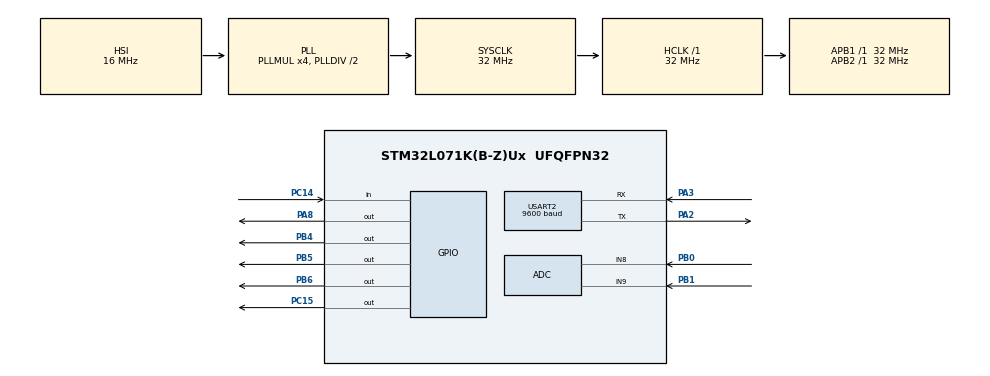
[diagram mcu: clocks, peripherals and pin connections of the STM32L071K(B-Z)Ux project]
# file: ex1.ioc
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ADC.DiscontinuousConvMode=ENABLE
Dma.MEMTOMEM.0.Direction=DMA_MEMORY_TO_MEMORY
Dma.MEMTOMEM.0.Instance=DMA1_Channel1
Dma.MEMTOMEM.0.MemDataAlignment=DMA_MDATAALIGN_BYTE
Dma.MEMTOMEM.0.MemInc=DMA_MINC_ENABLE
Dma.MEMTOMEM.0.Mode=DMA_NORMAL
Dma.MEMTOMEM.0.PeriphDataAlignment=DMA_PDATAALIGN_BYTE
Dma.MEMTOMEM.0.PeriphInc=DMA_PINC_ENABLE
Dma.MEMTOMEM.0.Priority=DMA_PRIORITY_LOW
Dma.Request0=MEMTOMEM
Dma.Request1=USART2_RX
Dma.USART2_RX.1.Direction=DMA_PERIPH_TO_MEMORY
Dma.USART2_RX.1.Instance=DMA1_Channel5
Dma.USART2_RX.1.MemDataAlignment=DMA_MDATAALIGN_BYTE
Dma.USART2_RX.1.MemInc=DMA_MINC_ENABLE
Dma.USART2_RX.1.Mode=DMA_CIRCULAR
Dma.USART2_RX.1.PeriphDataAlignment=DMA_PDATAALIGN_BYTE
Dma.USART2_RX.1.PeriphInc=DMA_PINC_DISABLE
Dma.USART2_RX.1.Priority=DMA_PRIORITY_LOW
Mcu.Family=STM32L0
Mcu.Name=STM32L071K(B-Z)Ux
Mcu.Package=UFQFPN32
NVIC.ADC1_COMP_IRQn=true\:0\:0\:false\:false\:true\:true\:true
NVIC.DMA1_Channel1_IRQn=true\:0\:0\:false\:false\:true\:true\:true
NVIC.DMA1_Channel4_5_6_7_IRQn=true\:0\:0\:false\:false\:true\:false\:true
NVIC.TIM6_IRQn=true\:0\:0\:false\:false\:true\:true\:true
NVIC.TIM7_IRQn=true\:0\:0\:false\:false\:true\:true\:true
NVIC.USART2_IRQn=true\:0\:0\:false\:false\:true\:true\:true
PA13.Mode=Serial_Wire
PA13.Signal=SYS_SWDIO
PA14.Mode=Serial_Wire
PA14.Signal=SYS_SWCLK
PA2.Mode=Asynchronous
PA2.Signal=USART2_TX
PA3.Mode=Asynchronous
PA3.Signal=USART2_RX
PA8.Signal=GPIO_Output
PB0.Mode=IN8
PB0.Signal=ADC_IN8
PB1.Mode=IN9
PB1.Signal=ADC_IN9
PB4.Signal=GPIO_Output
PB5.Signal=GPIO_Output
PB6.Signal=GPIO_Output
PC14-OSC32_IN.Signal=GPIO_Input
PC15-OSC32_OUT.Signal=GPIO_Output
ProjectManager.HeapSize=0x200
ProjectManager.StackSize=0x400
ProjectManager.TargetToolchain=MDK-ARM V5
RCC.AHBFreq_Value=32000000
RCC.APB1Freq_Value=32000000
RCC.APB1TimFreq_Value=32000000
RCC.APB2Freq_Value=32000000
RCC.APB2TimFreq_Value=32000000
RCC.HCLKFreq_Value=32000000
RCC.HSI16_VALUE=16000000
RCC.HSI_VALUE=16000000
RCC.LSE_VALUE=32768
RCC.MSI_VALUE=2097000
RCC.PLLMUL=RCC_PLLMUL_4
RCC.SYSCLKFreq_VALUE=32000000
RCC.SYSCLKSource=RCC_SYSCLKSOURCE_PLLCLK
RCC.VCOOutputFreq_Value=64000000
RTC.Format=RTC_FORMAT_BIN
RTC.SynchPrediv=307
TIM6.Period=999
TIM6.Prescaler=31
TIM7.Period=999
TIM7.Prescaler=31
USART2.BaudRate=9600
USART2.VirtualMode-Asynchronous=VM_ASYNC
VP_CRC_VS_CRC.Mode=CRC_Activate
VP_RTC_VS_RTC_Activate.Mode=RTC_Enabled
VP_RTC_VS_RTC_Calendar.Mode=RTC_Calendar
VP_TIM6_VS_ClockSourceINT.Mode=Enable_Timer
VP_TIM7_VS_ClockSourceINT.Mode=Enable_Timer
board=custom

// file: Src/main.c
/* USER CODE BEGIN Header */
/**
  ******************************************************************************
  * @file           : main.c
  * @brief          : Main program body
  ******************************************************************************
  * @attention
  *
  * <h2><center>&copy; Copyright (c) 2019 STMicroelectronics.
  * All rights reserved.</center></h2>
  *
  * This software component is licensed by ST under BSD 3-Clause license,
  * the "License"; You may not use this file except in compliance with the
  * License. You may obtain a copy of the License at:
  *                        opensource.org/licenses/BSD-3-Clause
  *
  ******************************************************************************
  */
/* USER CODE END Header */

#include "main.h"
#include "adc.h"
#include "crc.h"
#include "dma.h"
#include "rtc.h"
#include "tim.h"
#include "usart.h"
#include "gpio.h"

/* USER CODE BEGIN Includes */
#include "stm32l0xx_hal.h"
#include "zm4xx_gpio.h"
#include "spi.h"
#include "timer.h"
#include "stddef.h"
#include "sx127x_lora.h"
/* USER CODE END Includes */

/* USER CODE BEGIN PTD */
#define FREQ  (433000000)
void SystemClock_Config(void);
void Hardware_Init(void);
radio_handle_t  handle;
int ret = RADIO_RET_OK;

    uint16_t len = 0;
		uint8_t rx[50];
		uint8_t tx = 0x55;
		uint8_t cntr = 0;
	char lcdLine_1st_line[16];
  char lcdLine_2st_line[16];
	char send[100];
	unsigned int time_i=0,time_10ms=1,time_100ms=1;
	unsigned int key_i=0,key_flag=1;
	float value[2];
	unsigned char vrp1[10]="VRP1?",vrp2[10]="VRP2?";
/* USER CODE END PTD */

void SystemClock_Config(void);

/* USER CODE BEGIN 0 */
void Task_BrdInit(void)
{
    HAL_GPIO_WritePin(GPIOC, GPIO_PIN_15, GPIO_PIN_SET);

    OLED_PowerControl(ENABLE);

    HAL_Delay(200);
    OLED_Init();
    OLED_Clear();

    OLED_ShowString(0, 0, (unsigned char *)"                ", 16);
    OLED_ShowString(0, 2, (unsigned char *)"                ", 16);
}
void LoRa_Init(void)
{

	handle = radio_zm4xx_inst_init(spi_recv_byte,spi_send_byte,zm4xx_rst_pin_set,zm4xx_sel_pin_set,delay_ms,delay_us);

	if(handle != NULL){
		if(RADIO_RET_OK == radio_freq_set(handle, FREQ)){
				HAL_GPIO_WritePin(GPIOC, GPIO_PIN_15,GPIO_PIN_RESET);
		}

		radio_mode_set(handle, RX_MODE);	//Receive Mode
	}
}
void key_scan(void);
void key(void);
unsigned int difference(void);
void clear(unsigned char *send);
/* USER CODE END 0 */

int main(void)
{
  /* USER CODE BEGIN 1 */
	unsigned int i;
	unsigned char err[]="Error";

  /* USER CODE END 1 */

  /* MCU Configuration--------------------------------------------------------*/

  /* Reset of all peripherals, Initializes the Flash interface and the Systick. */
  HAL_Init();

  /* Configure the system clock */
  SystemClock_Config();

  /* Initialize all configured peripherals */
  MX_GPIO_Init();
  MX_DMA_Init();
  MX_CRC_Init();
  MX_ADC_Init();
  MX_RTC_Init();
  MX_TIM6_Init();
  MX_USART2_UART_Init();
  MX_TIM7_Init();
  /* USER CODE BEGIN 2 */
    Task_BrdInit();
		zm4xx_pin_init(); //LORA��Ҫ
    spi_init();//LORA��Ҫ
		LoRa_Init();
		HAL_TIM_Base_Start_IT(&htim6);
//		HAL_TIM_Base_Start_IT(&htim7);

  /* USER CODE END 2 */

  /* Infinite loop */
    while (1)
    {

    /* USER CODE BEGIN 3 */

			if(time_100ms==1)
			{
				key();
				HAL_RTC_GetTime(&hrtc, &sTime, RTC_FORMAT_BIN);
				HAL_RTC_GetDate(&hrtc, &sDate, RTC_FORMAT_BIN);
				for(i=0;i<=1;i++)
				{
					HAL_ADC_Start(&hadc);
					value[i]=HAL_ADC_GetValue(&hadc)*3.3/4095;
				}
				OLED_ShowString(0, 0, (unsigned char *)lcdLine_1st_line, 16);
				OLED_ShowString(0, 2, (unsigned char *)lcdLine_2st_line, 16);
			}

			radio_mode_set(handle, RX_MODE);
			ret = radio_buf_recv(handle, rx, &len);
			i=5000;
			while(i--&&ret != RADIO_RET_OK)
				ret = radio_buf_recv(handle, rx, &len);
			if(ret == RADIO_RET_OK)
			{
//				HAL_Delay(100);
				HAL_GPIO_TogglePin(GPIOC, GPIO_PIN_15);
//				OLED_ShowString(0, 0, rx, 16);
				if(difference()==1)
				{
//					HAL_GPIO_TogglePin(GPIOC, GPIO_PIN_15);
					sprintf(send, "VRP1:%.2f:%2d,%2d,%2d",value[0],sTime.Hours,sTime.Minutes,sTime.Seconds);
					radio_buf_send(handle,(unsigned char *)send,sizeof(send));
					radio_buf_send(handle,(unsigned char *)send,sizeof(send));
					radio_buf_send(handle,(unsigned char *)send,sizeof(send));
//					clear((unsigned char *)send);
				}
				if(difference()==2)
				{
//					HAL_GPIO_TogglePin(GPIOC, GPIO_PIN_15);
					sprintf(send, "VRP2:%.2f:%2d,%2d,%2d",value[1],sTime.Hours,sTime.Minutes,sTime.Seconds);
					radio_buf_send(handle,(unsigned char *)send,sizeof(send));
					radio_buf_send(handle,(unsigned char *)send,sizeof(send));
					radio_buf_send(handle,(unsigned char *)send,sizeof(send));
//					clear((unsigned char *)send);
				}
				else
				{
					radio_buf_send(handle,err,sizeof(err));
				}
			}

    }
  /* USER CODE END 3 */
}
/* USER CODE BEGIN 4 */
unsigned int difference()
{
	unsigned int i,num1,num2,flag;
	for(i=0;i<=4;i++)
	{
		if(rx[i]==vrp1[i])
			num1++;
	}
	for(i=0;i<=4;i++)
	{
		if(rx[i]==vrp2[i])
			num2++;
	}
	if(num1==5)				flag=1;
	else if(num2==5)	flag=2;
	else flag=0;
	return flag;
}
void clear(unsigned char *send)
{
	unsigned int i;
	for(i=0;i<=50;i++)
	{
		send[i]=0;
	}
}
void key_scan()
{
	if(HAL_GPIO_ReadPin(GPIOC, GPIO_PIN_14)==0)
	{
		key_i++;
	}
	else
	{
		if(key_i>1)
		{
			key_flag=!key_flag;
			key_i=0;
		}
	}
}
void key()
{
	if(key_flag==0)
	{
		sprintf(lcdLine_1st_line, "VRP1:%.2f",value[0]);
		sprintf(lcdLine_2st_line, "VRP2:%.2f",value[1]);
	}
	else
	{
		sprintf(lcdLine_1st_line, "       RTC ");
		sprintf(lcdLine_2st_line, "    %2d-%2d-%2d",sTime.Hours,sTime.Minutes,sTime.Seconds);
	}
}
void HAL_TIM_PeriodElapsedCallback(TIM_HandleTypeDef *htim)
{
	if(htim->Instance==TIM6)
	{
		time_i++;
		if(time_i==9999)	time_i=0;
		if(time_i%20==0)	key_scan();
		if(time_i%100==0)
		{
			time_100ms=!time_100ms;
		}
	}
}
/* USER CODE END 4 */
void SystemClock_Config(void)
{
  RCC_OscInitTypeDef RCC_OscInitStruct = {0};
  RCC_ClkInitTypeDef RCC_ClkInitStruct = {0};
  RCC_PeriphCLKInitTypeDef PeriphClkInit = {0};

  /** Configure the main internal regulator output voltage
  */
  __HAL_PWR_VOLTAGESCALING_CONFIG(PWR_REGULATOR_VOLTAGE_SCALE1);
  /** Initializes the CPU, AHB and APB busses clocks
  */
  RCC_OscInitStruct.OscillatorType = RCC_OSCILLATORTYPE_HSI|RCC_OSCILLATORTYPE_LSI;
  RCC_OscInitStruct.HSIState = RCC_HSI_ON;
  RCC_OscInitStruct.HSICalibrationValue = RCC_HSICALIBRATION_DEFAULT;
  RCC_OscInitStruct.LSIState = RCC_LSI_ON;
  RCC_OscInitStruct.PLL.PLLState = RCC_PLL_ON;
  RCC_OscInitStruct.PLL.PLLSource = RCC_PLLSOURCE_HSI;
  RCC_OscInitStruct.PLL.PLLMUL = RCC_PLLMUL_4;
  RCC_OscInitStruct.PLL.PLLDIV = RCC_PLLDIV_2;
  if (HAL_RCC_OscConfig(&RCC_OscInitStruct) != HAL_OK)
  {
    Error_Handler();
  }
  /** Initializes the CPU, AHB and APB busses clocks
  */
  RCC_ClkInitStruct.ClockType = RCC_CLOCKTYPE_HCLK|RCC_CLOCKTYPE_SYSCLK
                              |RCC_CLOCKTYPE_PCLK1|RCC_CLOCKTYPE_PCLK2;
  RCC_ClkInitStruct.SYSCLKSource = RCC_SYSCLKSOURCE_PLLCLK;
  RCC_ClkInitStruct.AHBCLKDivider = RCC_SYSCLK_DIV1;
  RCC_ClkInitStruct.APB1CLKDivider = RCC_HCLK_DIV1;
  RCC_ClkInitStruct.APB2CLKDivider = RCC_HCLK_DIV1;

  if (HAL_RCC_ClockConfig(&RCC_ClkInitStruct, FLASH_LATENCY_1) != HAL_OK)
  {
    Error_Handler();
  }
  PeriphClkInit.PeriphClockSelection = RCC_PERIPHCLK_USART2|RCC_PERIPHCLK_RTC;
  PeriphClkInit.Usart2ClockSelection = RCC_USART2CLKSOURCE_PCLK1;
  PeriphClkInit.RTCClockSelection = RCC_RTCCLKSOURCE_LSI;
  if (HAL_RCCEx_PeriphCLKConfig(&PeriphClkInit) != HAL_OK)
  {
    Error_Handler();
  }
}

void Error_Handler(void)
{
}

/************************ (C) COPYRIGHT STMicroelectronics *****END OF FILE****/
